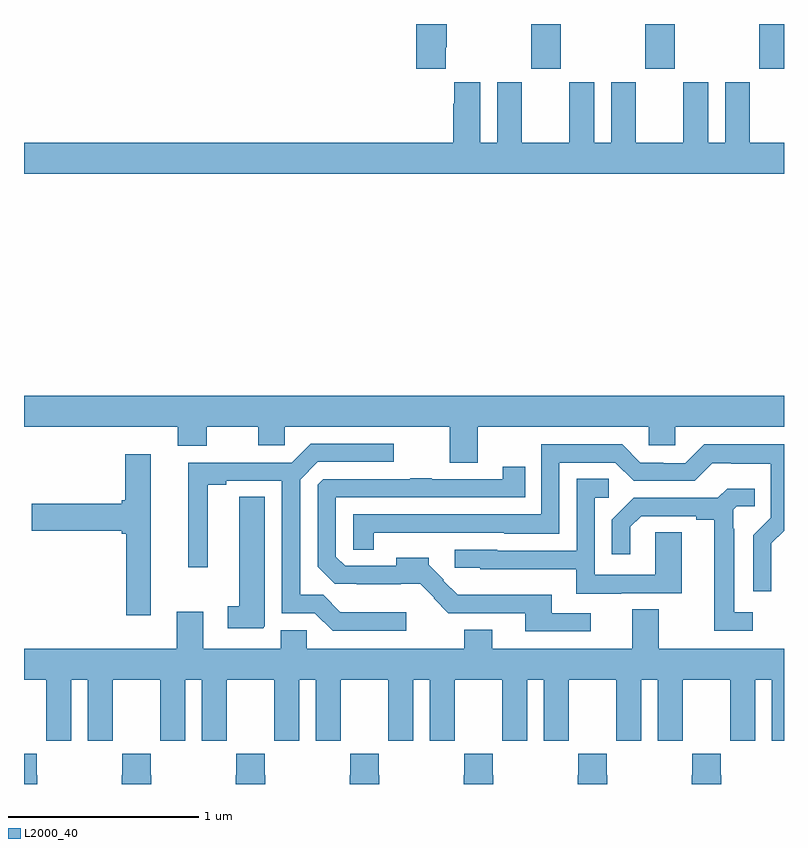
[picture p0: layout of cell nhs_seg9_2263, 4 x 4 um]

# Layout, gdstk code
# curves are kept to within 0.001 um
import gdstk
lib = gdstk.Library(unit=1e-6, precision=1e-09)
def R(c, l, rs):  # rectangles x0, y0, x1, y1
    for r in rs: c.add(gdstk.rectangle(r[:2], r[2:], *l))
def P(c, l, *ps):  # polygons
    for p in ps: c.add(gdstk.Polygon(p, *l))
L2000_40 = (2000, 40)

nhs_seg9_2263 = lib.new_cell('nhs_seg9_2263')
R(nhs_seg9_2263, L2000_40, [(241.669,1238.265,241.824,1238.5), (242.269,1238.265,242.424,1238.5), (242.869,1238.265,243,1238.5)])
P(nhs_seg9_2263, L2000_40, [(241.219,1238.377),(241.224,1238.377),(241.224,1238.5),(241.064,1238.5),(241.064,1238.265),(241.219,1238.265)],
  [(243,1237.876),(242.821,1237.876),(242.821,1238.194),(242.69,1238.194),(242.69,1237.876),(242.602,1237.876),(242.602,1238.194),(242.471,1238.194),(242.471,1237.876),(242.221,1237.876),(242.221,1238.194),(242.09,1238.194),(242.09,1237.876),(242.002,1237.876),(242.002,1238.194),(241.871,1238.194),(241.871,1237.876),(241.621,1237.876),(241.621,1238.194),(241.49,1238.194),(241.49,1237.876),(241.402,1237.876),(241.402,1238.194),(241.265,1238.194),(241.265,1238.081),(241.259,1238.081),(241.259,1237.876),(239,1237.876),(239,1237.712),(243,1237.712)],
  [(241.389,1236.38),(242.289,1236.38),(242.289,1236.282),(242.427,1236.282),(242.427,1236.38),(243,1236.38),(243,1236.544),(239,1236.544),(239,1236.38),(239.81,1236.38),(239.81,1236.281),(239.962,1236.281),(239.962,1236.38),(240.233,1236.38),(240.233,1236.282),(240.372,1236.282),(240.372,1236.38),(241.241,1236.38),(241.241,1236.19),(241.389,1236.19)],
  [(241.012,1235.404),(240.665,1235.404),(240.574,1235.495),(240.453,1235.495),(240.453,1236.102),(240.546,1236.195),(240.946,1236.195),(240.946,1236.291),(240.509,1236.291),(240.41,1236.192),(239.864,1236.192),(239.864,1235.64),(239.968,1235.64),(239.968,1236.076),(240.064,1236.076),(240.064,1236.096),(240.357,1236.096),(240.357,1235.4),(240.531,1235.4),(240.624,1235.307),(241.012,1235.307)],
  [(242.934,1235.66),(242.933,1235.766),(243,1235.834),(243,1236.289),(242.581,1236.289),(242.481,1236.189),(242.364,1236.189),(242.364,1236.192),(242.244,1236.192),(242.148,1236.288),(241.722,1236.288),(241.722,1235.919),(240.732,1235.919),(240.732,1235.734),(240.841,1235.734),(240.841,1235.822),(241.527,1235.823),(241.527,1235.816),(241.818,1235.816),(241.818,1236.192),(242.112,1236.192),(242.208,1236.096),(242.529,1236.096),(242.622,1236.189),(242.722,1236.189),(242.722,1236.185),(242.931,1236.185),(242.931,1235.901),(242.838,1235.808),(242.838,1235.514),(242.934,1235.514)],
  [(239.668,1236.235),(239.534,1236.235),(239.534,1235.994),(239.514,1235.994),(239.514,1235.976),(239.04,1235.976),(239.04,1235.834),(239.514,1235.834),(239.514,1235.816),(239.537,1235.816),(239.537,1235.388),(239.668,1235.388)],
  [(241.984,1235.4),(241.777,1235.4),(241.777,1235.497),(241.384,1235.497),(241.384,1235.495),(241.283,1235.495),(241.206,1235.571),(241.209,1235.574),(241.13,1235.653),(241.13,1235.692),(240.959,1235.692),(240.959,1235.649),(240.69,1235.649),(240.642,1235.697),(240.642,1236.009),(241.637,1236.009),(241.637,1236.169),(241.519,1236.169),(241.519,1236.105),(241.145,1236.105),(241.145,1236.11),(241.033,1236.11),(241.033,1236.105),(240.576,1236.105),(240.546,1236.075),(240.546,1235.643),(240.635,1235.554),(240.751,1235.554),(240.751,1235.552),(241.085,1235.553),(241.159,1235.479),(241.157,1235.477),(241.233,1235.4),(241.637,1235.4),(241.637,1235.304),(241.984,1235.304)],
  [(242.143,1235.505),(242.461,1235.505),(242.461,1235.825),(242.322,1235.825),(242.322,1235.601),(242.004,1235.601),(242.004,1236.006),(242.077,1236.006),(242.077,1236.107),(241.908,1236.107),(241.908,1235.727),(241.491,1235.727),(241.491,1235.733),(241.266,1235.733),(241.266,1235.637),(241.401,1235.637),(241.401,1235.63),(241.907,1235.63),(241.907,1235.501),(242.143,1235.501)],
  [(242.836,1235.403),(242.737,1235.403),(242.737,1235.843),(242.733,1235.843),(242.733,1235.943),(242.751,1235.961),(242.846,1235.961),(242.846,1236.053),(242.7,1236.053),(242.652,1236.006),(242.21,1236.006),(242.094,1235.89),(242.094,1235.709),(242.191,1235.709),(242.191,1235.853),(242.248,1235.91),(242.537,1235.91),(242.537,1235.89),(242.633,1235.89),(242.633,1235.307),(242.836,1235.307)],
  [(240.268,1235.329),(240.268,1236.011),(240.134,1236.011),(240.134,1235.435),(240.072,1235.435),(240.072,1235.319),(240.258,1235.319)],
  [(239.248,1235.048),(239.336,1235.048),(239.336,1234.728),(239.466,1234.728),(239.466,1234.84),(239.467,1234.84),(239.467,1235.048),(239.717,1235.048),(239.717,1234.84),(239.718,1234.84),(239.718,1234.728),(239.848,1234.728),(239.848,1235.048),(239.936,1235.048),(239.936,1234.728),(240.066,1234.728),(240.066,1234.84),(240.067,1234.84),(240.067,1235.048),(240.317,1235.048),(240.317,1234.84),(240.318,1234.84),(240.318,1234.728),(240.448,1234.728),(240.448,1235.048),(240.536,1235.048),(240.536,1234.728),(240.666,1234.728),(240.666,1234.84),(240.667,1234.84),(240.667,1235.048),(240.917,1235.048),(240.917,1234.84),(240.918,1234.84),(240.918,1234.728),(241.048,1234.728),(241.048,1235.048),(241.136,1235.048),(241.136,1234.728),(241.266,1234.728),(241.266,1234.84),(241.267,1234.84),(241.267,1235.048),(241.517,1235.048),(241.517,1234.84),(241.518,1234.84),(241.518,1234.728),(241.648,1234.728),(241.648,1235.048),(241.736,1235.048),(241.736,1234.728),(241.866,1234.728),(241.866,1234.84),(241.867,1234.84),(241.867,1235.048),(242.117,1235.048),(242.117,1234.84),(242.118,1234.84),(242.118,1234.728),(242.248,1234.728),(242.248,1235.048),(242.336,1235.048),(242.336,1234.728),(242.466,1234.728),(242.466,1234.84),(242.467,1234.84),(242.467,1235.048),(242.717,1235.048),(242.717,1234.84),(242.718,1234.84),(242.718,1234.728),(242.848,1234.728),(242.848,1235.048),(242.936,1235.048),(242.936,1234.728),(243,1234.728),(243,1235.212),(242.341,1235.212),(242.341,1235.42),(242.201,1235.42),(242.201,1235.212),(241.465,1235.212),(241.465,1235.311),(241.318,1235.311),(241.318,1235.212),(240.489,1235.212),(240.489,1235.31),(240.35,1235.31),(240.35,1235.212),(239.944,1235.212),(239.944,1235.407),(239.804,1235.407),(239.804,1235.212),(239,1235.212),(239,1235.048),(239.117,1235.048),(239.117,1234.84),(239.118,1234.84),(239.118,1234.728),(239.248,1234.728)],
  [(241.47,1234.547),(241.467,1234.547),(241.467,1234.66),(241.317,1234.66),(241.317,1234.547),(241.315,1234.547),(241.315,1234.5),(241.47,1234.5)],
  [(239.67,1234.547),(239.667,1234.547),(239.667,1234.66),(239.517,1234.66),(239.517,1234.547),(239.515,1234.547),(239.515,1234.5),(239.67,1234.5)],
  [(240.27,1234.547),(240.267,1234.547),(240.267,1234.66),(240.117,1234.66),(240.117,1234.547),(240.115,1234.547),(240.115,1234.5),(240.27,1234.5)],
  [(240.87,1234.547),(240.867,1234.547),(240.867,1234.66),(240.717,1234.66),(240.717,1234.547),(240.715,1234.547),(240.715,1234.5),(240.87,1234.5)],
  [(242.07,1234.547),(242.067,1234.547),(242.067,1234.66),(241.917,1234.66),(241.917,1234.547),(241.915,1234.547),(241.915,1234.5),(242.07,1234.5)],
  [(242.67,1234.547),(242.667,1234.547),(242.667,1234.66),(242.517,1234.66),(242.517,1234.547),(242.515,1234.547),(242.515,1234.5),(242.67,1234.5)],
  [(239.07,1234.547),(239.067,1234.547),(239.067,1234.66),(239,1234.66),(239,1234.5),(239.07,1234.5)])

lib.write_gds('nhs_seg9_2263.gds')
